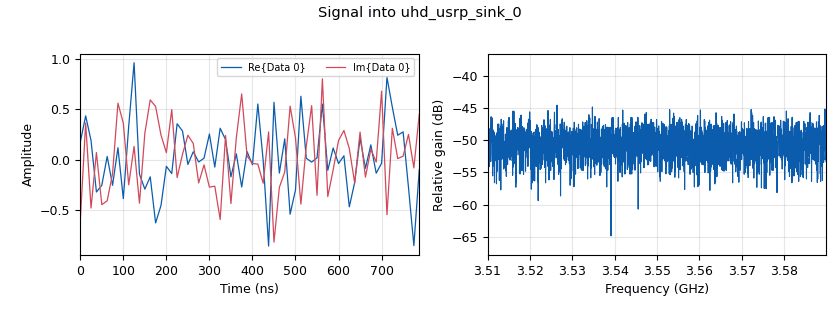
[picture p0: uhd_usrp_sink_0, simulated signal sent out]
options:
  parameters:
    author: Jonas Augusto Kunzler
    generate_options: qt_gui
    id: fixed_blackout_jammer
    output_language: python
    title: Fixed Blackout Jammer
  states: {}

blocks:
- name: frequency
  id: variable
  parameters:
    value: 3.55e9
  states: {}
- name: samp_rate
  id: variable
  parameters:
    value: 80e6
  states: {}
- name: analog_noise_source_x_0
  id: analog_noise_source_x
  parameters:
    amp: '.50'
    noise_type: analog.GR_GAUSSIAN
    seed: '0'
    type: complex
  states: {}
- name: uhd_usrp_sink_0
  id: uhd_usrp_sink
  parameters:
    ant0: '"TX/RX"'
    bw0: samp_rate
    center_freq0: frequency
    clock_rate: '0.0'
    dev_addr: '"addr=192.168.10.2"'
    dev_args: '""'
    gain0: '1'
    gain_type0: normalized
    len_tag_name: ''
    samp_rate: samp_rate
    sd_spec0: A:0
    sync: pc_clock
    type: fc32
  states: {}

connections:
- [analog_noise_source_x_0, '0', uhd_usrp_sink_0, '0']

metadata:
  file_format: 1
  grc_version: 3.10.12.0
